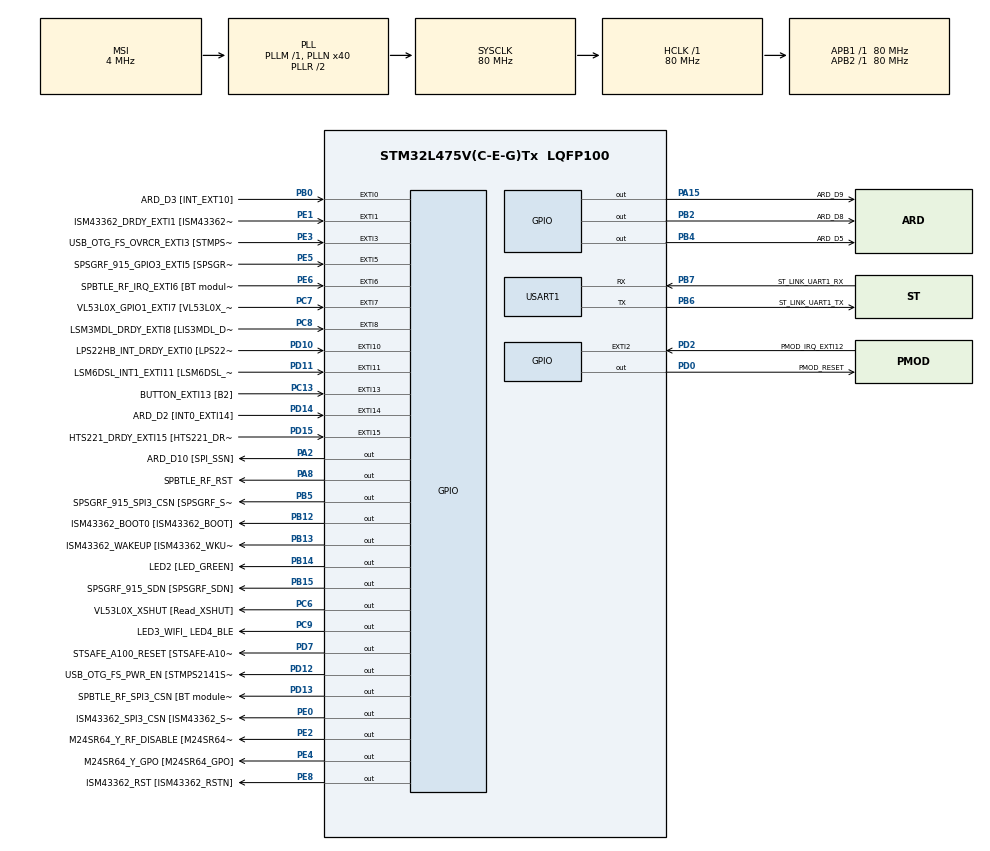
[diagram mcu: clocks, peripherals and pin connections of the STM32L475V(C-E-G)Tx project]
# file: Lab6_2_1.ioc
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ADC1.Channel-0\#ChannelRegularConversion=ADC_CHANNEL_TEMPSENSOR
ADC1.ContinuousConvMode=ENABLE
ADC1.DMAContinuousRequests=ENABLE
ADC1.ExternalTrigConv=ADC_EXTERNALTRIG_T2_TRGO
ADC1.NbrOfConversionFlag=1
ADC1.OffsetNumber-0\#ChannelRegularConversion=ADC_OFFSET_NONE
ADC1.Rank-0\#ChannelRegularConversion=1
ADC1.SamplingTime-0\#ChannelRegularConversion=ADC_SAMPLETIME_640CYCLES_5
ADC1.master=1
Dma.ADC1.0.Direction=DMA_PERIPH_TO_MEMORY
Dma.ADC1.0.Instance=DMA1_Channel1
Dma.ADC1.0.MemDataAlignment=DMA_MDATAALIGN_HALFWORD
Dma.ADC1.0.MemInc=DMA_MINC_ENABLE
Dma.ADC1.0.Mode=DMA_CIRCULAR
Dma.ADC1.0.PeriphDataAlignment=DMA_PDATAALIGN_HALFWORD
Dma.ADC1.0.PeriphInc=DMA_PINC_DISABLE
Dma.ADC1.0.Priority=DMA_PRIORITY_LOW
Dma.Request0=ADC1
FREERTOS.Tasks01=defaultTask,24,512,StartDefaultTask,Default,NULL,Dynamic,NULL,NULL
Mcu.Family=STM32L4
Mcu.Name=STM32L475V(C-E-G)Tx
Mcu.Package=LQFP100
NVIC.DMA1_Channel1_IRQn=true\:5\:0\:false\:false\:true\:true\:false\:true\:true
NVIC.EXTI15_10_IRQn=true\:5\:0\:false\:false\:true\:true\:true\:true\:true
NVIC.EXTI9_5_IRQn=true\:5\:0\:false\:false\:true\:true\:true\:true\:true
NVIC.PriorityGroup=NVIC_PRIORITYGROUP_4
NVIC.TIM1_UP_TIM16_IRQn=true\:15\:0\:false\:false\:true\:false\:false\:true\:true
NVIC.TimeBase=TIM1_UP_TIM16_IRQn
NVIC.TimeBaseIP=TIM1
PA0.GPIO_Label=ARD_D1 [UART4_TX]
PA0.Signal=UART4_TX
PA1.GPIO_Label=ARD_D0 [UART4_RX]
PA1.Signal=UART4_RX
PA10.GPIO_Label=USB_OTG_FS_ID
PA10.Signal=USB_OTG_FS_ID
PA11.GPIO_Label=USB_OTG_FS_DM
PA11.Signal=USB_OTG_FS_DM
PA12.GPIO_Label=USB_OTG_FS_DP
PA12.Signal=USB_OTG_FS_DP
PA13\ (JTMS-SWDIO).GPIO_Label=SYS_JTMS_SWDIO
PA13\ (JTMS-SWDIO).Signal=SYS_JTMS-SWDIO
PA14\ (JTCK-SWCLK).GPIO_Label=SYS_JTCK_SWCLK
PA14\ (JTCK-SWCLK).Signal=SYS_JTCK-SWCLK
PA15\ (JTDI).GPIO_Label=ARD_D9
PA15\ (JTDI).Signal=GPIO_Output
PA2.GPIO_Label=ARD_D10 [SPI_SSN]
PA2.Signal=GPIO_Output
PA3.GPIO_Label=ARD_D4
PA3.Signal=S_TIM2_CH4
PA4.GPIO_Label=ARD_D7
PA4.Signal=ADCx_IN9
PA5.GPIO_Label=ARD_D13 [SPI1_SCK]
PA5.Signal=SPI1_SCK
PA6.GPIO_Label=ARD_D12 [SPI1_MISO]
PA6.Signal=SPI1_MISO
PA7.GPIO_Label=ARD_D11 [SPI1_MOSI]
PA7.Signal=SPI1_MOSI
PA8.GPIO_Label=SPBTLE_RF_RST
PA8.Signal=GPIO_Output
PA9.GPIO_Label=USB_OTG_FS_VBUS [STMPS2141STR_OUT]
PA9.Signal=USB_OTG_FS_VBUS
PB0.GPIO_Label=ARD_D3 [INT_EXT10]
PB0.Signal=GPXTI0
PB1.GPIO_Label=ARD_D6 [ADC1_IN6]
PB1.Signal=ADCx_IN16
PB10.GPIO_Label=INTERNAL_I2C2_SCL [VL53L0X_SCL]
PB10.Signal=I2C2_SCL
PB11.GPIO_Label=INTERNAL_I2C2_SDA [VL53L0X_SDA]
PB11.Signal=I2C2_SDA
PB12.GPIO_Label=ISM43362_BOOT0 [ISM43362_BOOT]
PB12.Signal=GPIO_Output
PB13.GPIO_Label=ISM43362_WAKEUP [ISM43362_WKUP]
PB13.Signal=GPIO_Output
PB14.GPIO_Label=LED2 [LED_GREEN]
PB14.Signal=GPIO_Output
PB15.GPIO_Label=SPSGRF_915_SDN [SPSGRF_SDN]
PB15.Signal=GPIO_Output
PB2.GPIO_Label=ARD_D8
PB2.Signal=GPIO_Output
PB3\ (JTDO-TRACESWO).GPIO_Label=SYS_JTD0_SWO
PB3\ (JTDO-TRACESWO).Signal=SYS_JTDO-SWO
PB4\ (NJTRST).GPIO_Label=ARD_D5
PB4\ (NJTRST).Signal=GPIO_Output
PB5.GPIO_Label=SPSGRF_915_SPI3_CSN [SPSGRF_SPI_CS]
PB5.PinState=GPIO_PIN_SET
PB5.Signal=GPIO_Output
PB6.GPIO_Label=ST_LINK_UART1_TX
PB6.Mode=Asynchronous
PB6.Signal=USART1_TX
PB7.GPIO_Label=ST_LINK_UART1_RX
PB7.Mode=Asynchronous
PB7.Signal=USART1_RX
PB8.GPIO_Label=ARD_D15 [I2C1_SCL]
PB8.Signal=I2C1_SCL
PB9.GPIO_Label=ARD_D14 [I2C1_SDA]
PB9.Signal=I2C1_SDA
PC0.GPIO_Label=ARD_A5 [ADC]
PC0.Signal=ADCx_IN1
PC1.GPIO_Label=ARD_A4 [ADC]
PC1.Signal=ADCx_IN2
PC10.GPIO_Label=INTERNAL_SPI3_SCK [BT module_SPI_SCLK] [ISM43362_SCK]
PC10.Signal=SPI3_SCK
PC11.GPIO_Label=INTERNAL_SPI3_MISO [BT module_SPI_MISO] [ISM43362_MISO]
PC11.Signal=SPI3_MISO
PC12.GPIO_Label=INTERNAL_SPI3_MOSI [BT module_SPI_MOSI] [ISM43362_MOSI]
PC12.Signal=SPI3_MOSI
PC13.GPIO_Label=BUTTON_EXTI13 [B2]
PC13.GPIO_ModeDefaultEXTI=GPIO_MODE_IT_FALLING
PC13.Signal=GPXTI13
PC14-OSC32_IN\ (PC14).Signal=RCC_OSC32_IN
PC15-OSC32_OUT\ (PC15).Signal=RCC_OSC32_OUT
PC2.GPIO_Label=ARD_A3 [ADC]
PC2.Signal=ADCx_IN3
PC3.GPIO_Label=ARD_A2 [ADC]
PC3.Signal=ADCx_IN4
PC4.GPIO_Label=ARD_A1 [ADC]
PC4.Signal=ADCx_IN13
PC5.GPIO_Label=ARD_A0 [ADC]
PC5.Signal=ADCx_IN14
PC6.GPIO_Label=VL53L0X_XSHUT [Read_XSHUT]
PC6.Signal=GPIO_Output
PC7.GPIO_Label=VL53L0X_GPIO1_EXTI7 [VL53L0X_GPIO1]
PC7.Signal=GPXTI7
PC8.GPIO_Label=LSM3MDL_DRDY_EXTI8 [LIS3MDL_DRDY]
PC8.Signal=GPXTI8
PC9.GPIO_Label=LED3_WIFI_ LED4_BLE
PC9.Signal=GPIO_Output
PD0.GPIO_Label=PMOD_RESET
PD0.Signal=GPIO_Output
PD1.GPIO_Label=PMOD_SPI2_SCK
PD1.Signal=SPI2_SCK
PD10.GPIO_Label=LPS22HB_INT_DRDY_EXTI0 [LPS22HB_INT_DRDY] 
PD10.Signal=GPXTI10
PD11.GPIO_Label=LSM6DSL_INT1_EXTI11 [LSM6DSL_INT1]
PD11.Signal=GPXTI11
PD12.GPIO_Label=USB_OTG_FS_PWR_EN [STMPS2141STR_EN]
PD12.Signal=GPIO_Output
PD13.GPIO_Label=SPBTLE_RF_SPI3_CSN [BT module_SPI_CS]
PD13.PinState=GPIO_PIN_SET
PD13.Signal=GPIO_Output
PD14.GPIO_Label=ARD_D2 [INT0_EXTI14]
PD14.Signal=GPXTI14
PD15.GPIO_Label=HTS221_DRDY_EXTI15 [HTS221_DRDY]
PD15.Signal=GPXTI15
PD2.GPIO_Label=PMOD_IRQ_EXTI12
PD2.Signal=GPXTI2
PD3.GPIO_Label=PMOD_UART2_CTS
PD3.Signal=USART2_CTS
PD4.GPIO_Label=PMOD_UART2_RTS
PD4.Signal=USART2_RTS
PD5.GPIO_Label=PMOD_UART2_TX
PD5.Signal=USART2_TX
PD6.GPIO_Label=PMOD_UART2_RX
PD6.Signal=USART2_RX
PD7.GPIO_Label=STSAFE_A100_RESET [STSAFE-A100_RESET]
PD7.Signal=GPIO_Output
PD8.GPIO_Label=INTERNAL_UART3_TX [ISM43362_RX]
PD8.Signal=USART3_TX
PD9.GPIO_Label=INTERNAL_UART3_RX [ISM43362_TX]
PD9.Signal=USART3_RX
PE0.GPIO_Label=ISM43362_SPI3_CSN [ISM43362_SSN]
PE0.PinState=GPIO_PIN_SET
PE0.Signal=GPIO_Output
PE1.GPIO_Label=ISM43362_DRDY_EXTI1 [ISM43362_DATARDY]
PE1.Signal=GPXTI1
PE10.GPIO_Label=QUADSPI_CLK [MX25R6435F_SCLK]
PE10.Signal=QUADSPI_CLK
PE11.GPIO_Label=QUADSPI_NCS [MX25R6435F_SCLK]
PE11.Signal=QUADSPI_NCS
PE12.GPIO_Label=OQUADSPI_BK1_IO0 [MX25R6435F_IO0]
PE12.Signal=QUADSPI_BK1_IO0
PE13.GPIO_Label=QUADSPI_BK1_IO1 [MX25R6435F_IO1]
PE13.Signal=QUADSPI_BK1_IO1
PE14.GPIO_Label=QUAD_SPI_BK1_IO2 [MX25R6435F_IO2]
PE14.Signal=QUADSPI_BK1_IO2
PE15.GPIO_Label=QUAD_SPI_BK1_IO3 [MX25R6435F_IO3]
PE15.Signal=QUADSPI_BK1_IO3
PE2.GPIO_Label=M24SR64_Y_RF_DISABLE [M24SR64_RFDIS]
PE2.Signal=GPIO_Output
PE3.GPIO_Label=USB_OTG_FS_OVRCR_EXTI3 [STMPS2141STR_FAULT]
PE3.Signal=GPXTI3
PE4.GPIO_Label=M24SR64_Y_GPO [M24SR64_GPO]
PE4.Signal=GPIO_Output
PE5.GPIO_Label=SPSGRF_915_GPIO3_EXTI5 [SPSGRF_GPIO_3]
PE5.Signal=GPXTI5
PE6.GPIO_Label=SPBTLE_RF_IRQ_EXTI6 [BT module_SPI_IRQ]
PE6.Signal=GPXTI6
PE7.GPIO_Label=DFSDM1_DATIN2 [MP34DT01_DOUT]
PE7.Signal=S_DATAIN2DFSDM1
PE8.GPIO_Label=ISM43362_RST [ISM43362_RSTN]
PE8.Signal=GPIO_Output
PE9.GPIO_Label=DFSDM1_CKOUT [MP34DT01_CLK]
PE9.Signal=S_CKOUTDFSDM1
ProjectManager.HeapSize=0x200
ProjectManager.StackSize=0x400
ProjectManager.TargetToolchain=STM32CubeIDE
RCC.ADCFreq_Value=48000000
RCC.AHBFreq_Value=80000000
RCC.APB1Freq_Value=80000000
RCC.APB1TimFreq_Value=80000000
RCC.APB2Freq_Value=80000000
RCC.APB2TimFreq_Value=80000000
RCC.CortexFreq_Value=80000000
RCC.HCLKFreq_Value=80000000
RCC.HSE_VALUE=8000000
RCC.HSI_VALUE=16000000
RCC.LSE_VALUE=32768
RCC.MSI_VALUE=4000000
RCC.PLLN=40
RCC.PLLSAI1N=24
RCC.SYSCLKFreq_VALUE=80000000
RCC.SYSCLKSource=RCC_SYSCLKSOURCE_PLLCLK
RCC.USBFreq_Value=48000000
RCC.VCOOutputFreq_Value=160000000
SH.ADCx_IN1.0=ADC1_IN1
SH.ADCx_IN13.0=ADC1_IN13
SH.ADCx_IN14.0=ADC1_IN14
SH.ADCx_IN16.0=ADC1_IN16
SH.ADCx_IN2.0=ADC1_IN2
SH.ADCx_IN3.0=ADC1_IN3
SH.ADCx_IN4.0=ADC1_IN4
SH.ADCx_IN9.0=ADC1_IN9
SH.S_CKOUTDFSDM1.0=DFSDM1_CKOUT
SH.S_DATAIN2DFSDM1.0=DFSDM1_DATIN2
SH.S_TIM2_CH4.0=TIM2_CH4
TIM2.Period=999
TIM2.Prescaler=3999
TIM2.TIM_MasterOutputTrigger=TIM_TRGO_UPDATE
USART1.VirtualMode-Asynchronous=VM_ASYNC
VP_ADC1_TempSens_Input.Mode=IN-TempSens
VP_FREERTOS_VS_CMSIS_V2.Mode=CMSIS_V2
VP_SYS_VS_tim1.Mode=TIM1
VP_TIM2_VS_ClockSourceINT.Mode=Internal
board=B-L475E-IOT01A1

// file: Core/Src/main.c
/* USER CODE BEGIN Header */
/**
  ******************************************************************************
  * @file           : main.c
  * @brief          : Main program body
  ******************************************************************************
  * @attention
  *
  * Copyright (c) 2026 STMicroelectronics.
  * All rights reserved.
  *
  * This software is licensed under terms that can be found in the LICENSE file
  * in the root directory of this software component.
  * If no LICENSE file comes with this software, it is provided AS-IS.
  *
  ******************************************************************************
  */
/* USER CODE END Header */
#include "main.h"
#include "cmsis_os.h"

/* USER CODE BEGIN Includes */
#include <stdio.h>
#include <string.h>
/* USER CODE END Includes */

ADC_HandleTypeDef hadc1;
DMA_HandleTypeDef hdma_adc1;

TIM_HandleTypeDef htim2;

UART_HandleTypeDef huart1;

/* Definitions for defaultTask */
osThreadId_t defaultTaskHandle;
const osThreadAttr_t defaultTask_attributes = {
  .name = "defaultTask",
  .stack_size = 512 * 4,
  .priority = (osPriority_t) osPriorityNormal,
};
/* USER CODE BEGIN PV */
#define SAMPLE_BUFFER_SIZE  256
uint16_t sample_buffer[SAMPLE_BUFFER_SIZE];

#define FLAG_HALF_CPLT 0x01
#define FLAG_FULL_CPLT 0x02
/* USER CODE END PV */

void SystemClock_Config(void);
static void MX_GPIO_Init(void);
static void MX_DMA_Init(void);
static void MX_ADC1_Init(void);
static void MX_TIM2_Init(void);
static void MX_USART1_UART_Init(void);
void StartDefaultTask(void *argument);

/* USER CODE BEGIN 0 */
int __io_putchar(int ch) {
    HAL_UART_Transmit(&huart1, (uint8_t *)&ch, 1, HAL_MAX_DELAY);
    return ch;
}

// 解決 DMA Circular 模式硬體連續觸發的 Bug
void DMA1_Channel1_IRQHandler(void) {
    SET_BIT(hadc1.Instance->CFGR, ADC_CFGR_DMACFG);
    HAL_DMA_IRQHandler(&hdma_adc1);
}

// DMA 填滿一半時觸發
void HAL_ADC_ConvHalfCpltCallback(ADC_HandleTypeDef *hadc) {
    osThreadFlagsSet(defaultTaskHandle, FLAG_HALF_CPLT);
}

// DMA 全滿時觸發
void HAL_ADC_ConvCpltCallback(ADC_HandleTypeDef *hadc) {
    osThreadFlagsSet(defaultTaskHandle, FLAG_FULL_CPLT);
}
/* USER CODE END 0 */

int main(void)
{

  /* MCU Configuration--------------------------------------------------------*/

  /* Reset of all peripherals, Initializes the Flash interface and the Systick. */
  HAL_Init();

  /* Configure the system clock */
  SystemClock_Config();

  /* Initialize all configured peripherals */
  MX_GPIO_Init();
  MX_DMA_Init();
  MX_ADC1_Init();
  MX_TIM2_Init();
  MX_USART1_UART_Init();
  /* USER CODE BEGIN 2 */
    // 1. 強制開啟 DMA 與 ADC 時鐘
    __HAL_RCC_DMA1_CLK_ENABLE();
    __HAL_RCC_ADC_CLK_ENABLE();

    // 2. 手動初始化 DMA (取代隱藏檔案裡可能遺失的設定)
    hdma_adc1.Instance = DMA1_Channel1;
    hdma_adc1.Init.Request = DMA_REQUEST_0; // STM32L4 的 ADC1 對應 Request 0
    hdma_adc1.Init.Direction = DMA_PERIPH_TO_MEMORY;
    hdma_adc1.Init.PeriphInc = DMA_PINC_DISABLE;
    hdma_adc1.Init.MemInc = DMA_MINC_ENABLE;
    hdma_adc1.Init.PeriphDataAlignment = DMA_PDATAALIGN_HALFWORD;
    hdma_adc1.Init.MemDataAlignment = DMA_MDATAALIGN_HALFWORD;
    hdma_adc1.Init.Mode = DMA_CIRCULAR;
    hdma_adc1.Init.Priority = DMA_PRIORITY_HIGH;
    if (HAL_DMA_Init(&hdma_adc1) != HAL_OK) {
        char msg[] = "DMA Init Failed!\r\n";
        HAL_UART_Transmit(&huart1, (uint8_t*)msg, strlen(msg), 100);
    }

    // 3. 強制將 DMA 與 ADC 綁定！ (這是最關鍵的一步)
    __HAL_LINKDMA(&hadc1, DMA_Handle, hdma_adc1);

    // 4. ADC 啟動前校正
    HAL_ADCEx_Calibration_Start(&hadc1, ADC_SINGLE_ENDED);

    // 5. 啟動 ADC DMA，並加上成功/失敗的文字檢查
    if (HAL_ADC_Start_DMA(&hadc1, (uint32_t *)sample_buffer, SAMPLE_BUFFER_SIZE) != HAL_OK) {
        char msg[] = "ADC DMA Start FAILED! \r\n";
        HAL_UART_Transmit(&huart1, (uint8_t*)msg, strlen(msg), HAL_MAX_DELAY);
    } else {
        char msg[] = "ADC DMA Started Successfully!\r\n";
        HAL_UART_Transmit(&huart1, (uint8_t*)msg, strlen(msg), HAL_MAX_DELAY);
    }

    // 6. 啟動 Timer2 開始觸發
    HAL_TIM_Base_Start(&htim2);
    /* USER CODE END 2 */

  /* Init scheduler */
  osKernelInitialize();

  /* Create the thread(s) */
  /* creation of defaultTask */
  defaultTaskHandle = osThreadNew(StartDefaultTask, NULL, &defaultTask_attributes);

  /* Start scheduler */
  osKernelStart();

  /* We should never get here as control is now taken by the scheduler */

  /* Infinite loop */
  while (1)
  {

  }
}

void SystemClock_Config(void)
{
  RCC_OscInitTypeDef RCC_OscInitStruct = {0};
  RCC_ClkInitTypeDef RCC_ClkInitStruct = {0};

  /** Configure the main internal regulator output voltage
  */
  if (HAL_PWREx_ControlVoltageScaling(PWR_REGULATOR_VOLTAGE_SCALE1) != HAL_OK)
  {
    Error_Handler();
  }

  /** Initializes the RCC Oscillators according to the specified parameters
  * in the RCC_OscInitTypeDef structure.
  */
  RCC_OscInitStruct.OscillatorType = RCC_OSCILLATORTYPE_MSI;
  RCC_OscInitStruct.MSIState = RCC_MSI_ON;
  RCC_OscInitStruct.MSICalibrationValue = 0;
  RCC_OscInitStruct.MSIClockRange = RCC_MSIRANGE_6;
  RCC_OscInitStruct.PLL.PLLState = RCC_PLL_ON;
  RCC_OscInitStruct.PLL.PLLSource = RCC_PLLSOURCE_MSI;
  RCC_OscInitStruct.PLL.PLLM = 1;
  RCC_OscInitStruct.PLL.PLLN = 40;
  RCC_OscInitStruct.PLL.PLLP = RCC_PLLP_DIV7;
  RCC_OscInitStruct.PLL.PLLQ = RCC_PLLQ_DIV2;
  RCC_OscInitStruct.PLL.PLLR = RCC_PLLR_DIV2;
  if (HAL_RCC_OscConfig(&RCC_OscInitStruct) != HAL_OK)
  {
    Error_Handler();
  }

  /** Initializes the CPU, AHB and APB buses clocks
  */
  RCC_ClkInitStruct.ClockType = RCC_CLOCKTYPE_HCLK|RCC_CLOCKTYPE_SYSCLK
                              |RCC_CLOCKTYPE_PCLK1|RCC_CLOCKTYPE_PCLK2;
  RCC_ClkInitStruct.SYSCLKSource = RCC_SYSCLKSOURCE_PLLCLK;
  RCC_ClkInitStruct.AHBCLKDivider = RCC_SYSCLK_DIV1;
  RCC_ClkInitStruct.APB1CLKDivider = RCC_HCLK_DIV1;
  RCC_ClkInitStruct.APB2CLKDivider = RCC_HCLK_DIV1;

  if (HAL_RCC_ClockConfig(&RCC_ClkInitStruct, FLASH_LATENCY_4) != HAL_OK)
  {
    Error_Handler();
  }
}

static void MX_ADC1_Init(void)
{

  ADC_MultiModeTypeDef multimode = {0};
  ADC_ChannelConfTypeDef sConfig = {0};

  /** Common config
  */
  hadc1.Instance = ADC1;
  hadc1.Init.ClockPrescaler = ADC_CLOCK_SYNC_PCLK_DIV4;
  hadc1.Init.Resolution = ADC_RESOLUTION_12B;
  hadc1.Init.DataAlign = ADC_DATAALIGN_RIGHT;
  hadc1.Init.ScanConvMode = ADC_SCAN_DISABLE;
  hadc1.Init.EOCSelection = ADC_EOC_SINGLE_CONV;
  hadc1.Init.LowPowerAutoWait = DISABLE;
  hadc1.Init.ContinuousConvMode = ENABLE;
  hadc1.Init.NbrOfConversion = 1;
  hadc1.Init.DiscontinuousConvMode = DISABLE;
  hadc1.Init.ExternalTrigConv = ADC_EXTERNALTRIG_T2_TRGO;
  hadc1.Init.ExternalTrigConvEdge = ADC_EXTERNALTRIGCONVEDGE_RISING;
  hadc1.Init.DMAContinuousRequests = ENABLE;
  hadc1.Init.Overrun = ADC_OVR_DATA_PRESERVED;
  hadc1.Init.OversamplingMode = DISABLE;
  if (HAL_ADC_Init(&hadc1) != HAL_OK)
  {
    Error_Handler();
  }

  /** Configure the ADC multi-mode
  */
  multimode.Mode = ADC_MODE_INDEPENDENT;
  if (HAL_ADCEx_MultiModeConfigChannel(&hadc1, &multimode) != HAL_OK)
  {
    Error_Handler();
  }

  /** Configure Regular Channel
  */
  sConfig.Channel = ADC_CHANNEL_TEMPSENSOR;
  sConfig.Rank = ADC_REGULAR_RANK_1;
  sConfig.SamplingTime = ADC_SAMPLETIME_640CYCLES_5;
  sConfig.SingleDiff = ADC_SINGLE_ENDED;
  sConfig.OffsetNumber = ADC_OFFSET_NONE;
  sConfig.Offset = 0;
  if (HAL_ADC_ConfigChannel(&hadc1, &sConfig) != HAL_OK)
  {
    Error_Handler();
  }

}

static void MX_TIM2_Init(void)
{

  TIM_ClockConfigTypeDef sClockSourceConfig = {0};
  TIM_MasterConfigTypeDef sMasterConfig = {0};

  htim2.Instance = TIM2;
  htim2.Init.Prescaler = 3999;
  htim2.Init.CounterMode = TIM_COUNTERMODE_UP;
  htim2.Init.Period = 999;
  htim2.Init.ClockDivision = TIM_CLOCKDIVISION_DIV1;
  htim2.Init.AutoReloadPreload = TIM_AUTORELOAD_PRELOAD_DISABLE;
  if (HAL_TIM_Base_Init(&htim2) != HAL_OK)
  {
    Error_Handler();
  }
  sClockSourceConfig.ClockSource = TIM_CLOCKSOURCE_INTERNAL;
  if (HAL_TIM_ConfigClockSource(&htim2, &sClockSourceConfig) != HAL_OK)
  {
    Error_Handler();
  }
  sMasterConfig.MasterOutputTrigger = TIM_TRGO_UPDATE;
  sMasterConfig.MasterSlaveMode = TIM_MASTERSLAVEMODE_DISABLE;
  if (HAL_TIMEx_MasterConfigSynchronization(&htim2, &sMasterConfig) != HAL_OK)
  {
    Error_Handler();
  }

}

static void MX_USART1_UART_Init(void)
{

  huart1.Instance = USART1;
  huart1.Init.BaudRate = 115200;
  huart1.Init.WordLength = UART_WORDLENGTH_8B;
  huart1.Init.StopBits = UART_STOPBITS_1;
  huart1.Init.Parity = UART_PARITY_NONE;
  huart1.Init.Mode = UART_MODE_TX_RX;
  huart1.Init.HwFlowCtl = UART_HWCONTROL_NONE;
  huart1.Init.OverSampling = UART_OVERSAMPLING_16;
  huart1.Init.OneBitSampling = UART_ONE_BIT_SAMPLE_DISABLE;
  huart1.AdvancedInit.AdvFeatureInit = UART_ADVFEATURE_NO_INIT;
  if (HAL_UART_Init(&huart1) != HAL_OK)
  {
    Error_Handler();
  }

}

static void MX_DMA_Init(void)
{

  /* DMA controller clock enable */
  __HAL_RCC_DMA1_CLK_ENABLE();

  /* DMA interrupt init */
  /* DMA1_Channel1_IRQn interrupt configuration */
  HAL_NVIC_SetPriority(DMA1_Channel1_IRQn, 5, 0);
  HAL_NVIC_EnableIRQ(DMA1_Channel1_IRQn);

}

static void MX_GPIO_Init(void)
{
  GPIO_InitTypeDef GPIO_InitStruct = {0};

  /* GPIO Ports Clock Enable */
  __HAL_RCC_GPIOE_CLK_ENABLE();
  __HAL_RCC_GPIOC_CLK_ENABLE();
  __HAL_RCC_GPIOA_CLK_ENABLE();
  __HAL_RCC_GPIOB_CLK_ENABLE();
  __HAL_RCC_GPIOD_CLK_ENABLE();

  /*Configure GPIO pin Output Level */
  HAL_GPIO_WritePin(GPIOE, M24SR64_Y_RF_DISABLE_Pin|M24SR64_Y_GPO_Pin|ISM43362_RST_Pin, GPIO_PIN_RESET);

  /*Configure GPIO pin Output Level */
  HAL_GPIO_WritePin(GPIOA, ARD_D10_Pin|SPBTLE_RF_RST_Pin|ARD_D9_Pin, GPIO_PIN_RESET);

  /*Configure GPIO pin Output Level */
  HAL_GPIO_WritePin(GPIOB, ARD_D8_Pin|ISM43362_BOOT0_Pin|ISM43362_WAKEUP_Pin|LED2_Pin
                          |SPSGRF_915_SDN_Pin|ARD_D5_Pin, GPIO_PIN_RESET);

  /*Configure GPIO pin Output Level */
  HAL_GPIO_WritePin(GPIOD, USB_OTG_FS_PWR_EN_Pin|PMOD_RESET_Pin|STSAFE_A100_RESET_Pin, GPIO_PIN_RESET);

  /*Configure GPIO pin Output Level */
  HAL_GPIO_WritePin(SPBTLE_RF_SPI3_CSN_GPIO_Port, SPBTLE_RF_SPI3_CSN_Pin, GPIO_PIN_SET);

  /*Configure GPIO pin Output Level */
  HAL_GPIO_WritePin(GPIOC, VL53L0X_XSHUT_Pin|LED3_WIFI__LED4_BLE_Pin, GPIO_PIN_RESET);

  /*Configure GPIO pin Output Level */
  HAL_GPIO_WritePin(SPSGRF_915_SPI3_CSN_GPIO_Port, SPSGRF_915_SPI3_CSN_Pin, GPIO_PIN_SET);

  /*Configure GPIO pin Output Level */
  HAL_GPIO_WritePin(ISM43362_SPI3_CSN_GPIO_Port, ISM43362_SPI3_CSN_Pin, GPIO_PIN_SET);

  /*Configure GPIO pins : M24SR64_Y_RF_DISABLE_Pin M24SR64_Y_GPO_Pin ISM43362_RST_Pin ISM43362_SPI3_CSN_Pin */
  GPIO_InitStruct.Pin = M24SR64_Y_RF_DISABLE_Pin|M24SR64_Y_GPO_Pin|ISM43362_RST_Pin|ISM43362_SPI3_CSN_Pin;
  GPIO_InitStruct.Mode = GPIO_MODE_OUTPUT_PP;
  GPIO_InitStruct.Pull = GPIO_NOPULL;
  GPIO_InitStruct.Speed = GPIO_SPEED_FREQ_LOW;
  HAL_GPIO_Init(GPIOE, &GPIO_InitStruct);

  /*Configure GPIO pins : USB_OTG_FS_OVRCR_EXTI3_Pin SPSGRF_915_GPIO3_EXTI5_Pin SPBTLE_RF_IRQ_EXTI6_Pin ISM43362_DRDY_EXTI1_Pin */
  GPIO_InitStruct.Pin = USB_OTG_FS_OVRCR_EXTI3_Pin|SPSGRF_915_GPIO3_EXTI5_Pin|SPBTLE_RF_IRQ_EXTI6_Pin|ISM43362_DRDY_EXTI1_Pin;
  GPIO_InitStruct.Mode = GPIO_MODE_IT_RISING;
  GPIO_InitStruct.Pull = GPIO_NOPULL;
  HAL_GPIO_Init(GPIOE, &GPIO_InitStruct);

  /*Configure GPIO pin : BUTTON_EXTI13_Pin */
  GPIO_InitStruct.Pin = BUTTON_EXTI13_Pin;
  GPIO_InitStruct.Mode = GPIO_MODE_IT_FALLING;
  GPIO_InitStruct.Pull = GPIO_NOPULL;
  HAL_GPIO_Init(BUTTON_EXTI13_GPIO_Port, &GPIO_InitStruct);

  /*Configure GPIO pins : ARD_D1_Pin ARD_D0_Pin */
  GPIO_InitStruct.Pin = ARD_D1_Pin|ARD_D0_Pin;
  GPIO_InitStruct.Mode = GPIO_MODE_AF_PP;
  GPIO_InitStruct.Pull = GPIO_NOPULL;
  GPIO_InitStruct.Speed = GPIO_SPEED_FREQ_VERY_HIGH;
  GPIO_InitStruct.Alternate = GPIO_AF8_UART4;
  HAL_GPIO_Init(GPIOA, &GPIO_InitStruct);

  /*Configure GPIO pins : ARD_D10_Pin SPBTLE_RF_RST_Pin ARD_D9_Pin */
  GPIO_InitStruct.Pin = ARD_D10_Pin|SPBTLE_RF_RST_Pin|ARD_D9_Pin;
  GPIO_InitStruct.Mode = GPIO_MODE_OUTPUT_PP;
  GPIO_InitStruct.Pull = GPIO_NOPULL;
  GPIO_InitStruct.Speed = GPIO_SPEED_FREQ_LOW;
  HAL_GPIO_Init(GPIOA, &GPIO_InitStruct);

  /*Configure GPIO pins : ARD_D13_Pin ARD_D12_Pin ARD_D11_Pin */
  GPIO_InitStruct.Pin = ARD_D13_Pin|ARD_D12_Pin|ARD_D11_Pin;
  GPIO_InitStruct.Mode = GPIO_MODE_AF_PP;
  GPIO_InitStruct.Pull = GPIO_NOPULL;
  GPIO_InitStruct.Speed = GPIO_SPEED_FREQ_VERY_HIGH;
  GPIO_InitStruct.Alternate = GPIO_AF5_SPI1;
  HAL_GPIO_Init(GPIOA, &GPIO_InitStruct);

  /*Configure GPIO pin : ARD_D3_Pin */
  GPIO_InitStruct.Pin = ARD_D3_Pin;
  GPIO_InitStruct.Mode = GPIO_MODE_IT_RISING;
  GPIO_InitStruct.Pull = GPIO_NOPULL;
  HAL_GPIO_Init(ARD_D3_GPIO_Port, &GPIO_InitStruct);

  /*Configure GPIO pins : ARD_D8_Pin ISM43362_BOOT0_Pin ISM43362_WAKEUP_Pin LED2_Pin
                           SPSGRF_915_SDN_Pin ARD_D5_Pin SPSGRF_915_SPI3_CSN_Pin */
  GPIO_InitStruct.Pin = ARD_D8_Pin|ISM43362_BOOT0_Pin|ISM43362_WAKEUP_Pin|LED2_Pin
                          |SPSGRF_915_SDN_Pin|ARD_D5_Pin|SPSGRF_915_SPI3_CSN_Pin;
  GPIO_InitStruct.Mode = GPIO_MODE_OUTPUT_PP;
  GPIO_InitStruct.Pull = GPIO_NOPULL;
  GPIO_InitStruct.Speed = GPIO_SPEED_FREQ_LOW;
  HAL_GPIO_Init(GPIOB, &GPIO_InitStruct);

  /*Configure GPIO pins : DFSDM1_DATIN2_Pin DFSDM1_CKOUT_Pin */
  GPIO_InitStruct.Pin = DFSDM1_DATIN2_Pin|DFSDM1_CKOUT_Pin;
  GPIO_InitStruct.Mode = GPIO_MODE_AF_PP;
  GPIO_InitStruct.Pull = GPIO_NOPULL;
  GPIO_InitStruct.Speed = GPIO_SPEED_FREQ_LOW;
  GPIO_InitStruct.Alternate = GPIO_AF6_DFSDM1;
  HAL_GPIO_Init(GPIOE, &GPIO_InitStruct);

  /*Configure GPIO pins : QUADSPI_CLK_Pin QUADSPI_NCS_Pin OQUADSPI_BK1_IO0_Pin QUADSPI_BK1_IO1_Pin
                           QUAD_SPI_BK1_IO2_Pin QUAD_SPI_BK1_IO3_Pin */
  GPIO_InitStruct.Pin = QUADSPI_CLK_Pin|QUADSPI_NCS_Pin|OQUADSPI_BK1_IO0_Pin|QUADSPI_BK1_IO1_Pin
                          |QUAD_SPI_BK1_IO2_Pin|QUAD_SPI_BK1_IO3_Pin;
  GPIO_InitStruct.Mode = GPIO_MODE_AF_PP;
  GPIO_InitStruct.Pull = GPIO_NOPULL;
  GPIO_InitStruct.Speed = GPIO_SPEED_FREQ_VERY_HIGH;
  GPIO_InitStruct.Alternate = GPIO_AF10_QUADSPI;
  HAL_GPIO_Init(GPIOE, &GPIO_InitStruct);

  /*Configure GPIO pins : INTERNAL_I2C2_SCL_Pin INTERNAL_I2C2_SDA_Pin */
  GPIO_InitStruct.Pin = INTERNAL_I2C2_SCL_Pin|INTERNAL_I2C2_SDA_Pin;
  GPIO_InitStruct.Mode = GPIO_MODE_AF_OD;
  GPIO_InitStruct.Pull = GPIO_NOPULL;
  GPIO_InitStruct.Speed = GPIO_SPEED_FREQ_VERY_HIGH;
  GPIO_InitStruct.Alternate = GPIO_AF4_I2C2;
  HAL_GPIO_Init(GPIOB, &GPIO_InitStruct);

  /*Configure GPIO pins : INTERNAL_UART3_TX_Pin INTERNAL_UART3_RX_Pin */
  GPIO_InitStruct.Pin = INTERNAL_UART3_TX_Pin|INTERNAL_UART3_RX_Pin;
  GPIO_InitStruct.Mode = GPIO_MODE_AF_PP;
  GPIO_InitStruct.Pull = GPIO_NOPULL;
  GPIO_InitStruct.Speed = GPIO_SPEED_FREQ_VERY_HIGH;
  GPIO_InitStruct.Alternate = GPIO_AF7_USART3;
  HAL_GPIO_Init(GPIOD, &GPIO_InitStruct);

  /*Configure GPIO pins : LPS22HB_INT_DRDY_EXTI0_Pin LSM6DSL_INT1_EXTI11_Pin ARD_D2_Pin HTS221_DRDY_EXTI15_Pin
                           PMOD_IRQ_EXTI12_Pin */
  GPIO_InitStruct.Pin = LPS22HB_INT_DRDY_EXTI0_Pin|LSM6DSL_INT1_EXTI11_Pin|ARD_D2_Pin|HTS221_DRDY_EXTI15_Pin
                          |PMOD_IRQ_EXTI12_Pin;
  GPIO_InitStruct.Mode = GPIO_MODE_IT_RISING;
  GPIO_InitStruct.Pull = GPIO_NOPULL;
  HAL_GPIO_Init(GPIOD, &GPIO_InitStruct);

  /*Configure GPIO pins : USB_OTG_FS_PWR_EN_Pin SPBTLE_RF_SPI3_CSN_Pin PMOD_RESET_Pin STSAFE_A100_RESET_Pin */
  GPIO_InitStruct.Pin = USB_OTG_FS_PWR_EN_Pin|SPBTLE_RF_SPI3_CSN_Pin|PMOD_RESET_Pin|STSAFE_A100_RESET_Pin;
  GPIO_InitStruct.Mode = GPIO_MODE_OUTPUT_PP;
  GPIO_InitStruct.Pull = GPIO_NOPULL;
  GPIO_InitStruct.Speed = GPIO_SPEED_FREQ_LOW;
  HAL_GPIO_Init(GPIOD, &GPIO_InitStruct);

  /*Configure GPIO pins : VL53L0X_XSHUT_Pin LED3_WIFI__LED4_BLE_Pin */
  GPIO_InitStruct.Pin = VL53L0X_XSHUT_Pin|LED3_WIFI__LED4_BLE_Pin;
  GPIO_InitStruct.Mode = GPIO_MODE_OUTPUT_PP;
  GPIO_InitStruct.Pull = GPIO_NOPULL;
  GPIO_InitStruct.Speed = GPIO_SPEED_FREQ_LOW;
  HAL_GPIO_Init(GPIOC, &GPIO_InitStruct);

  /*Configure GPIO pins : VL53L0X_GPIO1_EXTI7_Pin LSM3MDL_DRDY_EXTI8_Pin */
  GPIO_InitStruct.Pin = VL53L0X_GPIO1_EXTI7_Pin|LSM3MDL_DRDY_EXTI8_Pin;
  GPIO_InitStruct.Mode = GPIO_MODE_IT_RISING;
  GPIO_InitStruct.Pull = GPIO_NOPULL;
  HAL_GPIO_Init(GPIOC, &GPIO_InitStruct);

  /*Configure GPIO pin : USB_OTG_FS_VBUS_Pin */
  GPIO_InitStruct.Pin = USB_OTG_FS_VBUS_Pin;
  GPIO_InitStruct.Mode = GPIO_MODE_INPUT;
  GPIO_InitStruct.Pull = GPIO_NOPULL;
  HAL_GPIO_Init(USB_OTG_FS_VBUS_GPIO_Port, &GPIO_InitStruct);

  /*Configure GPIO pins : USB_OTG_FS_ID_Pin USB_OTG_FS_DM_Pin USB_OTG_FS_DP_Pin */
  GPIO_InitStruct.Pin = USB_OTG_FS_ID_Pin|USB_OTG_FS_DM_Pin|USB_OTG_FS_DP_Pin;
  GPIO_InitStruct.Mode = GPIO_MODE_AF_PP;
  GPIO_InitStruct.Pull = GPIO_NOPULL;
  GPIO_InitStruct.Speed = GPIO_SPEED_FREQ_VERY_HIGH;
  GPIO_InitStruct.Alternate = GPIO_AF10_OTG_FS;
  HAL_GPIO_Init(GPIOA, &GPIO_InitStruct);

  /*Configure GPIO pins : INTERNAL_SPI3_SCK_Pin INTERNAL_SPI3_MISO_Pin INTERNAL_SPI3_MOSI_Pin */
  GPIO_InitStruct.Pin = INTERNAL_SPI3_SCK_Pin|INTERNAL_SPI3_MISO_Pin|INTERNAL_SPI3_MOSI_Pin;
  GPIO_InitStruct.Mode = GPIO_MODE_AF_PP;
  GPIO_InitStruct.Pull = GPIO_NOPULL;
  GPIO_InitStruct.Speed = GPIO_SPEED_FREQ_VERY_HIGH;
  GPIO_InitStruct.Alternate = GPIO_AF6_SPI3;
  HAL_GPIO_Init(GPIOC, &GPIO_InitStruct);

  /*Configure GPIO pin : PMOD_SPI2_SCK_Pin */
  GPIO_InitStruct.Pin = PMOD_SPI2_SCK_Pin;
  GPIO_InitStruct.Mode = GPIO_MODE_AF_PP;
  GPIO_InitStruct.Pull = GPIO_NOPULL;
  GPIO_InitStruct.Speed = GPIO_SPEED_FREQ_VERY_HIGH;
  GPIO_InitStruct.Alternate = GPIO_AF5_SPI2;
  HAL_GPIO_Init(PMOD_SPI2_SCK_GPIO_Port, &GPIO_InitStruct);

  /*Configure GPIO pins : PMOD_UART2_CTS_Pin PMOD_UART2_RTS_Pin PMOD_UART2_TX_Pin PMOD_UART2_RX_Pin */
  GPIO_InitStruct.Pin = PMOD_UART2_CTS_Pin|PMOD_UART2_RTS_Pin|PMOD_UART2_TX_Pin|PMOD_UART2_RX_Pin;
  GPIO_InitStruct.Mode = GPIO_MODE_AF_PP;
  GPIO_InitStruct.Pull = GPIO_NOPULL;
  GPIO_InitStruct.Speed = GPIO_SPEED_FREQ_VERY_HIGH;
  GPIO_InitStruct.Alternate = GPIO_AF7_USART2;
  HAL_GPIO_Init(GPIOD, &GPIO_InitStruct);

  /*Configure GPIO pins : ARD_D15_Pin ARD_D14_Pin */
  GPIO_InitStruct.Pin = ARD_D15_Pin|ARD_D14_Pin;
  GPIO_InitStruct.Mode = GPIO_MODE_AF_OD;
  GPIO_InitStruct.Pull = GPIO_NOPULL;
  GPIO_InitStruct.Speed = GPIO_SPEED_FREQ_VERY_HIGH;
  GPIO_InitStruct.Alternate = GPIO_AF4_I2C1;
  HAL_GPIO_Init(GPIOB, &GPIO_InitStruct);

  /* EXTI interrupt init*/
  HAL_NVIC_SetPriority(EXTI9_5_IRQn, 5, 0);
  HAL_NVIC_EnableIRQ(EXTI9_5_IRQn);

  HAL_NVIC_SetPriority(EXTI15_10_IRQn, 5, 0);
  HAL_NVIC_EnableIRQ(EXTI15_10_IRQn);

}

void StartDefaultTask(void *argument)
{
  /* USER CODE BEGIN 5 */
	  uint32_t flags;
	  char msg[64];

	  // 開機存活證明
	  sprintf(msg, "=== System Started! Waiting for ADC... ===\r\n");
	  HAL_UART_Transmit(&huart1, (uint8_t*)msg, strlen(msg), HAL_MAX_DELAY);

	  for(;;)
	  {
	      flags = osThreadFlagsWait(FLAG_HALF_CPLT | FLAG_FULL_CPLT, osFlagsWaitAny, osWaitForever);

	      if (flags & FLAG_HALF_CPLT)
	      {
	          sprintf(msg, "\r\n[Top Half]\r\n");
	          HAL_UART_Transmit(&huart1, (uint8_t*)msg, strlen(msg), HAL_MAX_DELAY);
	          for (int i = 0; i < SAMPLE_BUFFER_SIZE / 2; i++) {
	              sprintf(msg, "%d ", sample_buffer[i]);
	              HAL_UART_Transmit(&huart1, (uint8_t*)msg, strlen(msg), HAL_MAX_DELAY);
	          }
	      }

	      if (flags & FLAG_FULL_CPLT)
	      {
	          sprintf(msg, "\r\n[Bottom Half]\r\n");
	          HAL_UART_Transmit(&huart1, (uint8_t*)msg, strlen(msg), HAL_MAX_DELAY);
	          for (int i = SAMPLE_BUFFER_SIZE / 2; i < SAMPLE_BUFFER_SIZE; i++) {
	              sprintf(msg, "%d ", sample_buffer[i]);
	              HAL_UART_Transmit(&huart1, (uint8_t*)msg, strlen(msg), HAL_MAX_DELAY);
	          }
	      }
	  }
  /* USER CODE END 5 */
}

void HAL_TIM_PeriodElapsedCallback(TIM_HandleTypeDef *htim)
{
  if (htim->Instance == TIM1)
  {
    HAL_IncTick();
  }
}

void Error_Handler(void)
{
  __disable_irq();
  while (1)
  {
  }
}
